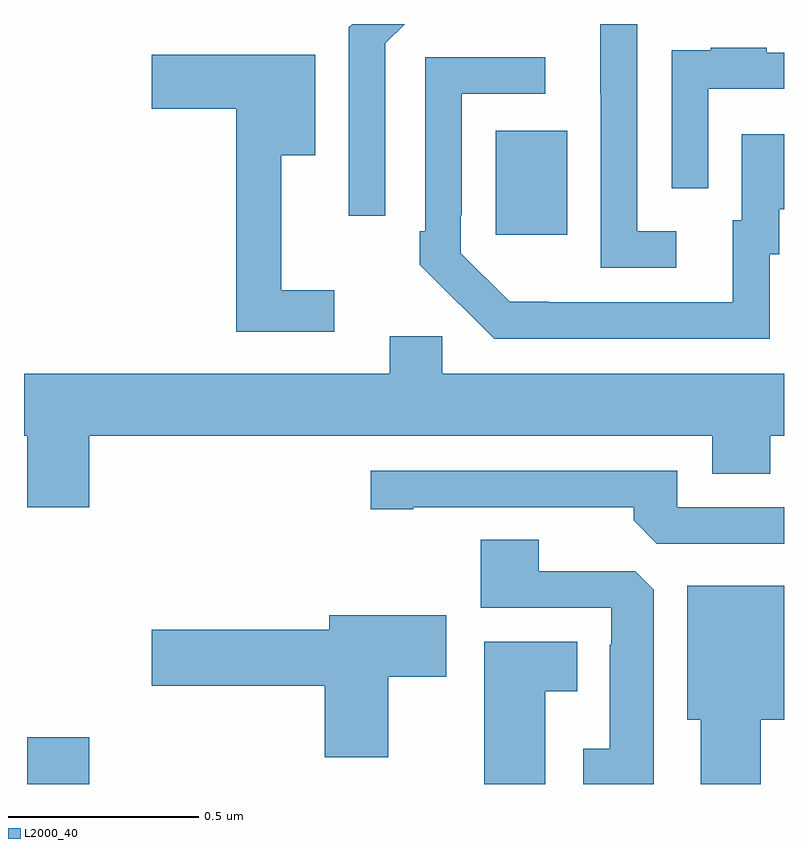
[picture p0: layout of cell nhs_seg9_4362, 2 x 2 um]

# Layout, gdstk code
import gdstk
lib = gdstk.Library(unit=1e-6, precision=1e-09)
def R(c, l, rs):  # rectangles x0, y0, x1, y1
    for r in rs: c.add(gdstk.rectangle(r[:2], r[2:], *l))
def P(c, l, *ps):  # polygons
    for p in ps: c.add(gdstk.Polygon(p, *l))
L2000_40 = (2000, 40)

nhs_seg9_4362 = lib.new_cell('nhs_seg9_4362')
R(nhs_seg9_4362, L2000_40, [(165.008,1199.5,165.172,1199.623), (166.241,1200.945,166.429,1201.219)])
P(nhs_seg9_4362, L2000_40, [(165.951,1201.449),(166.002,1201.5),(165.864,1201.5),(165.855,1201.491),(165.855,1200.996),(165.951,1200.996)],
  [(166.717,1200.954),(166.614,1200.954),(166.614,1201.5),(166.517,1201.5),(166.517,1201.315),(166.518,1201.315),(166.518,1200.858),(166.717,1200.858)],
  [(166.8,1201.329),(167,1201.329),(167,1201.425),(166.955,1201.425),(166.955,1201.438),(166.807,1201.438),(166.807,1201.431),(166.705,1201.431),(166.705,1201.322),(166.704,1201.322),(166.704,1201.068),(166.8,1201.068)],
  [(165.817,1200.799),(165.677,1200.799),(165.677,1201.154),(165.766,1201.154),(165.766,1201.419),(165.336,1201.419),(165.336,1201.277),(165.559,1201.277),(165.559,1200.69),(165.817,1200.69)],
  [(166.962,1200.894),(166.987,1200.894),(166.987,1201.013),(167,1201.013),(167,1201.21),(166.889,1201.21),(166.889,1200.984),(166.865,1200.984),(166.865,1200.768),(166.381,1200.768),(166.381,1200.769),(166.278,1200.769),(166.149,1200.897),(166.149,1200.997),(166.152,1200.997),(166.152,1201.317),(166.372,1201.317),(166.372,1201.413),(166.056,1201.413),(166.056,1200.955),(166.041,1200.955),(166.041,1200.867),(166.146,1200.762),(166.147,1200.763),(166.238,1200.672),(166.962,1200.672)],
  [(165.172,1200.416),(166.811,1200.416),(166.811,1200.317),(166.964,1200.317),(166.964,1200.416),(167,1200.416),(167,1200.58),(166.101,1200.58),(166.101,1200.678),(165.962,1200.678),(165.962,1200.58),(165,1200.58),(165,1200.416),(165.008,1200.416),(165.008,1200.228),(165.172,1200.228)],
  [(167,1200.228),(166.719,1200.228),(166.719,1200.324),(165.912,1200.324),(165.912,1200.223),(166.024,1200.223),(166.024,1200.228),(166.604,1200.228),(166.604,1200.194),(166.665,1200.132),(167,1200.132)],
  [(166.657,1200.011),(166.608,1200.06),(166.354,1200.06),(166.354,1200.143),(166.202,1200.143),(166.202,1199.964),(166.545,1199.964),(166.545,1199.867),(166.541,1199.867),(166.541,1199.593),(166.472,1199.593),(166.472,1199.5),(166.657,1199.5)],
  [(166.939,1199.669),(167,1199.669),(167,1200.022),(166.745,1200.022),(166.745,1199.669),(166.781,1199.669),(166.781,1199.5),(166.939,1199.5)],
  [(165.958,1199.782),(166.111,1199.782),(166.111,1199.944),(165.803,1199.944),(165.803,1199.906),(165.336,1199.906),(165.336,1199.759),(165.791,1199.759),(165.791,1199.571),(165.958,1199.571)],
  [(166.372,1199.744),(166.456,1199.744),(166.456,1199.875),(166.211,1199.875),(166.211,1199.5),(166.372,1199.5)])

lib.write_gds('nhs_seg9_4362.gds')
